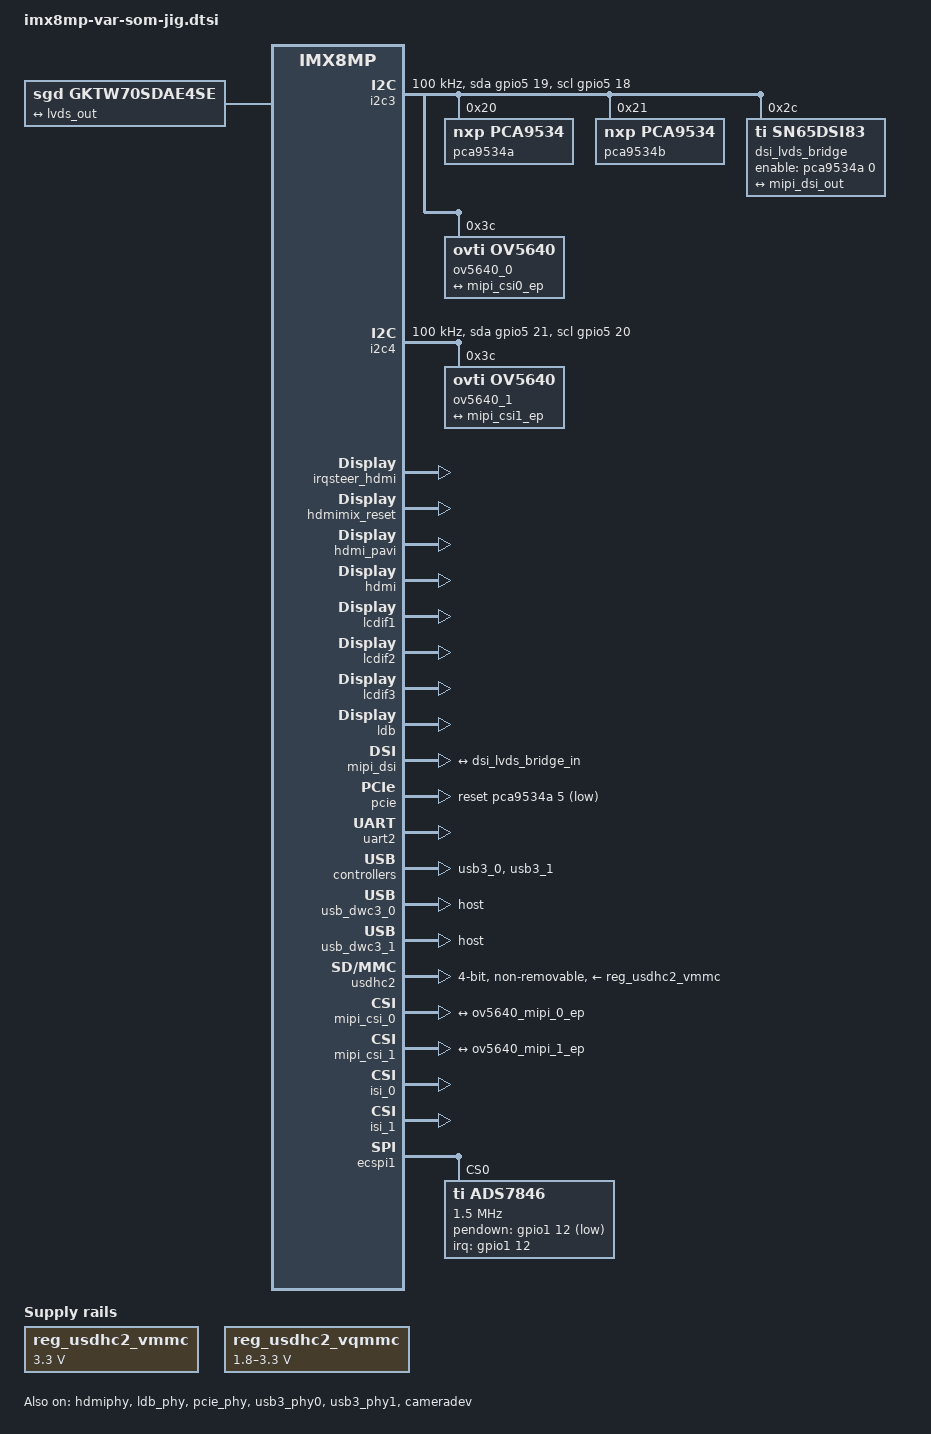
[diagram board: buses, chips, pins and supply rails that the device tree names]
// SPDX-License-Identifier: (GPL-2.0+ OR MIT)
/*
 * Copyright 2019 NXP
 * Copyright 2020 Variscite Ltd.
 */

/ {
	chosen {
		stdout-path = &uart2;
	};

	/delete-node/ memory@40000000;

	reserved-memory {
		/* CMA region is configured by kernel command line as cma=<size>M */
		/delete-node/ linux,cma;
	};

	reg_usdhc2_vmmc: regulator-usdhc2-vmmc {
		compatible = "regulator-fixed";
		regulator-name = "VSD_3V3";
		regulator-min-microvolt = <3300000>;
		regulator-max-microvolt = <3300000>;
	};

	reg_usdhc2_vqmmc: regulator-usdhc2-vqmmc {
		compatible = "regulator-gpio";
		regulator-name = "VSD_VSEL";
		regulator-min-microvolt = <1800000>;
		regulator-max-microvolt = <3300000>;
		gpio = <&gpio2 12 GPIO_ACTIVE_HIGH>;
		gpios-states = <1>;
		states = <3300000 0
			  1800000 1>;
	};



	sound-hdmi {
		compatible = "fsl,imx-audio-cdnhdmi";
		model = "audio-hdmi";
		audio-cpu = <&aud2htx>;
		hdmi-out;
		constraint-rate = <44100>,
				<88200>,
				<176400>,
				<32000>,
				<48000>,
				<96000>,
				<192000>;
		status = "disabled";
	};

	panel {
		compatible = "sgd,gktw70sdae4se", "panel-lvds";
		width-mm = <153>;
		height-mm = <87>;
		label = "gktw70sdae4se";
		data-mapping = "jeida-24";
		status = "okay";

		panel-timing {
			clock-frequency = <66000000>;
			hactive = <1600>;
			vactive = <480>;
			hback-porch = <80>;
			hfront-porch = <80>;
			vback-porch = <29>;
			vfront-porch = <13>;
			hsync-len = <96>;
			vsync-len = <3>;
			hsync-active = <0>;
			vsync-active = <0>;
			de-active = <1>;
		};

		port {
			panel_in: endpoint {
				remote-endpoint = <&lvds_out>;
			};
		};
	};
};

&aud2htx {
	status = "disabled";
};



&i2c3 {
	clock-frequency = <100000>;
	pinctrl-names = "default", "gpio";
	pinctrl-0 = <&pinctrl_i2c3>;
	pinctrl-1 = <&pinctrl_i2c3_gpio>;
	scl-gpios = <&gpio5 18 GPIO_ACTIVE_HIGH>;
	sda-gpios = <&gpio5 19 GPIO_ACTIVE_HIGH>;
	status = "okay";

	/* GPIO expander */
	pca9534a: gpio@20 {
		status = "okay";
		compatible = "nxp,pca9534";
		reg = <0x20>;
		gpio-controller;
		#gpio-cells = <2>;
	};

	/* GPIO expander */
	pca9534b: gpio@21 {
		status = "okay";
		compatible = "nxp,pca9534";
		reg = <0x21>;
		gpio-controller;
		#gpio-cells = <2>;
	};

	dsi_lvds_bridge: sn65dsi84@2c {
		compatible = "ti,sn65dsi83";
		reg = <0x2c>;
		ti,dsi-lanes = <4>;
		ti,lvds-format = <1>;
		ti,lvds-bpp = <24>;
		ti,lvds-channels = <1>;
		ti,width-mm = <154>;
		ti,height-mm = <87>;
		enable-gpios = <&pca9534a 0 GPIO_ACTIVE_HIGH>;
		status = "okay";

		display-timings {
			lvds {
				clock-frequency = <33000000>;
				hactive = <800>;
				vactive = <480>;
				hback-porch = <40>;
				hfront-porch = <40>;
				vback-porch = <29>;
				vfront-porch = <13>;
				hsync-len = <48>;
				vsync-len = <3>;
				hsync-active = <0>;
				vsync-active = <0>;
				de-active = <1>;
				pixelclk-active = <0>;
			};
		};

		port {
			dsi_lvds_bridge_in: endpoint {
				remote-endpoint = <&mipi_dsi_out>;
			};
		};
	};

	ov5640_0: ov5640_mipi@3c {
		compatible = "ovti,ov5640";
		reg = <0x3c>;
		clocks = <&clk IMX8MP_CLK_IPP_DO_CLKO2>;
		clock-names = "xclk";
		assigned-clock-rates = <24000000>;
		csi_id = <0>;
		mclk = <24000000>;
		mclk_source = <0>;
		mipi_csi;
		status = "okay";

		port {
			ov5640_mipi_0_ep: endpoint {
				remote-endpoint = <&mipi_csi0_ep>;
				data-lanes = <1 2>;
				clock-lanes = <0>;
			};
		};
	};
};

&i2c4 {
	clock-frequency = <100000>;
	pinctrl-names = "default", "gpio";
	pinctrl-0 = <&pinctrl_i2c4>;
	pinctrl-1 = <&pinctrl_i2c4_gpio>;
	scl-gpios = <&gpio5 20 GPIO_ACTIVE_HIGH>;
	sda-gpios = <&gpio5 21 GPIO_ACTIVE_HIGH>;
	status = "okay";

	ov5640_1: ov5640_mipi@3c {
		compatible = "ovti,ov5640";
		reg = <0x3c>;
		clocks = <&clk IMX8MP_CLK_IPP_DO_CLKO2>;
		clock-names = "xclk";
		assigned-clock-rates = <24000000>;
		csi_id = <1>;
		mclk = <24000000>;
		mclk_source = <0>;
		mipi_csi;
		status = "okay";

		port {
			ov5640_mipi_1_ep: endpoint {
				remote-endpoint = <&mipi_csi1_ep>;
				data-lanes = <1 2>;
				clock-lanes = <0>;
			};
		};
	};	
};

&irqsteer_hdmi {
	status = "okay";
};

&hdmimix_clk {
	status = "okay";
};

&hdmimix_reset {
	status = "okay";
};

&hdmi_pavi {
	status = "okay";
};

&hdmi {
	status = "okay";
};

&hdmiphy {
	status = "okay";
};

/* MIPI-DSI */
&lcdif1 {
	status = "okay";
};

/* LVDS */
&lcdif2 {
	status = "okay";
};

/* HDMI */
&lcdif3 {
	status = "okay";
};

&ldb {
	status = "okay";
	fsl,dual-channel;

	lvds-channel@0 {
		fsl,data-mapping = "jeida";
		fsl,data-width = <24>;
		status = "okay";

		port@1 {
			reg = <1>;

			lvds_out: endpoint {
				remote-endpoint = <&panel_in>;
			};
		};
	};
};

&ldb_phy {
	status = "okay";
};

&mipi_dsi {
	status = "okay";

	port@1 {
		mipi_dsi_out: endpoint {
			remote-endpoint = <&dsi_lvds_bridge_in>;
			attach-bridge;
		};
	};
};

&pcie {
	reset-gpio = <&pca9534a 5 GPIO_ACTIVE_LOW>;
	ext_osc = <1>;
	clocks = <&clk IMX8MP_CLK_HSIO_AXI_DIV>,
		 <&clk IMX8MP_CLK_PCIE_AUX>,
		 <&clk IMX8MP_CLK_PCIE_PHY>,
		 <&clk IMX8MP_CLK_PCIE_ROOT>;
	clock-names = "pcie", "pcie_aux", "pcie_phy", "pcie_bus";
	assigned-clocks = <&clk IMX8MP_CLK_HSIO_AXI_SRC>,
			  <&clk IMX8MP_CLK_PCIE_AUX>;
	assigned-clock-parents = <&clk IMX8MP_SYS_PLL2_500M>,
				 <&clk IMX8MP_SYS_PLL2_50M>;
	status = "okay";
};

&pcie_phy {
	ext_osc = <1>;
	status = "okay";
};



/* Console */
&uart2 {
	pinctrl-names = "default";
	pinctrl-0 = <&pinctrl_uart2>;
	status = "okay";
};



&usb3_phy0 {
	status = "okay";
};

&usb3_0 {
	status = "okay";
};

&usb_dwc3_0 {
	dr_mode = "host";
	hnp-disable;
	srp-disable;
	adp-disable;
	status = "okay";
};

&usb3_phy1 {
	status = "okay";
};

&usb3_1 {
	status = "okay";
};

&usb_dwc3_1 {
	dr_mode = "host";
	status = "okay";
};



&usdhc2 {
	pinctrl-names = "default", "state_100mhz", "state_200mhz";
	pinctrl-0 = <&pinctrl_usdhc2>;
	pinctrl-1 = <&pinctrl_usdhc2_100mhz>;
	pinctrl-2 = <&pinctrl_usdhc2_200mhz>;
	vmmc-supply = <&reg_usdhc2_vmmc>;
	vqmmc-supply = <&reg_usdhc2_vqmmc>;
	non-removable;
	bus-width = <4>;
	status = "okay";
};



&iomuxc {
	pinctrl-names = "default";
	pinctrl-0 = <&pinctrl_hog>;

	pinctrl_hog: hoggrp {
		fsl,pins = <
			MX8MP_IOMUXC_GPIO1_IO00__GPIO1_IO00                          0x116
			MX8MP_IOMUXC_GPIO1_IO01__GPIO1_IO01                          0x116
			MX8MP_IOMUXC_GPIO1_IO07__GPIO1_IO07                          0x116
			MX8MP_IOMUXC_GPIO1_IO13__GPIO1_IO13                          0x116
			MX8MP_IOMUXC_GPIO1_IO14__GPIO1_IO14                          0x116
			MX8MP_IOMUXC_GPIO1_IO15__GPIO1_IO15                          0x116
			MX8MP_IOMUXC_NAND_DQS__GPIO3_IO14                            0x116
			MX8MP_IOMUXC_SAI1_RXD4__GPIO4_IO06                           0x116
			MX8MP_IOMUXC_SAI1_RXD6__GPIO4_IO08                           0x116
			MX8MP_IOMUXC_SAI1_RXD7__GPIO4_IO09                           0x116
			MX8MP_IOMUXC_SAI1_TXC__GPIO4_IO11                            0x116
			MX8MP_IOMUXC_SAI1_TXD3__GPIO4_IO15                           0x116
			MX8MP_IOMUXC_SAI1_TXD4__GPIO4_IO16                           0x116
			MX8MP_IOMUXC_SAI1_TXD5__GPIO4_IO17                           0x116
			MX8MP_IOMUXC_SAI2_RXFS__GPIO4_IO21                           0x116
			MX8MP_IOMUXC_SAI2_RXD0__GPIO4_IO23                           0x116
			MX8MP_IOMUXC_SAI2_TXC__GPIO4_IO25                            0x116
			MX8MP_IOMUXC_SAI2_TXD0__GPIO4_IO26                           0x116
			MX8MP_IOMUXC_SPDIF_TX__GPIO5_IO03                            0x116
			MX8MP_IOMUXC_SPDIF_EXT_CLK__GPIO5_IO05                       0x116
			MX8MP_IOMUXC_ECSPI2_MOSI__GPIO5_IO11                         0x116
			MX8MP_IOMUXC_UART3_RXD__GPIO5_IO26                           0x116
			MX8MP_IOMUXC_UART3_TXD__GPIO5_IO27                           0x116
			MX8MP_IOMUXC_HDMI_CEC__GPIO3_IO28                            0x116
			MX8MP_IOMUXC_NAND_ALE__GPIO3_IO00                            0x116
			MX8MP_IOMUXC_NAND_DATA01__GPIO3_IO07                         0x116
			MX8MP_IOMUXC_SAI1_MCLK__GPIO4_IO20                           0x116
			MX8MP_IOMUXC_SAI1_RXD3__GPIO4_IO05                           0x116
			MX8MP_IOMUXC_SAI1_RXFS__GPIO4_IO00                           0x116
			MX8MP_IOMUXC_SAI1_RXD0__GPIO4_IO02                           0x116
			MX8MP_IOMUXC_GPIO1_IO05__GPIO1_IO05                          0x116
			MX8MP_IOMUXC_GPIO1_IO03__GPIO1_IO03                          0x116
			MX8MP_IOMUXC_GPIO1_IO08__GPIO1_IO08                          0x116
			MX8MP_IOMUXC_GPIO1_IO06__GPIO1_IO06                          0x116
			MX8MP_IOMUXC_GPIO1_IO09__GPIO1_IO09                          0x116
			MX8MP_IOMUXC_UART1_RXD__GPIO5_IO22                           0x116
			MX8MP_IOMUXC_ECSPI2_SCLK__GPIO5_IO10                         0x116
			MX8MP_IOMUXC_NAND_DATA00__GPIO3_IO06                         0x116
			MX8MP_IOMUXC_SAI1_TXD1__GPIO4_IO13                           0x116
			MX8MP_IOMUXC_HDMI_DDC_SDA__GPIO3_IO27                        0x116
			MX8MP_IOMUXC_UART4_TXD__GPIO5_IO29                           0x116
			MX8MP_IOMUXC_HDMI_DDC_SCL__GPIO3_IO26                        0x116
			MX8MP_IOMUXC_SAI1_TXD2__GPIO4_IO14                           0x116
			MX8MP_IOMUXC_SAI1_TXFS__GPIO4_IO10                           0x116
			MX8MP_IOMUXC_UART1_TXD__GPIO5_IO23                           0x116
			MX8MP_IOMUXC_ECSPI2_SS0__GPIO5_IO13                          0x116
			MX8MP_IOMUXC_SAI2_TXFS__GPIO4_IO24                           0x116
			MX8MP_IOMUXC_SAI1_TXD0__GPIO4_IO12                           0x116
			MX8MP_IOMUXC_ECSPI2_MISO__GPIO5_IO12                         0x116
			MX8MP_IOMUXC_GPIO1_IO11__GPIO1_IO11                          0x116
			MX8MP_IOMUXC_SAI2_RXC__GPIO4_IO22                            0x116
			MX8MP_IOMUXC_UART4_RXD__GPIO5_IO28                           0x116
			MX8MP_IOMUXC_SAI2_MCLK__GPIO4_IO27                           0x116
			MX8MP_IOMUXC_SAI1_RXD5__GPIO4_IO07                           0x116
			MX8MP_IOMUXC_HDMI_HPD__GPIO3_IO29                            0x116
			MX8MP_IOMUXC_NAND_CE0_B__GPIO3_IO01                          0x116
			MX8MP_IOMUXC_NAND_DATA02__GPIO3_IO08                         0x116
			MX8MP_IOMUXC_SAI1_RXD2__GPIO4_IO04                           0x116
			MX8MP_IOMUXC_SAI1_RXD1__GPIO4_IO03                           0x116
			MX8MP_IOMUXC_SAI1_TXD6__GPIO4_IO18                           0x116
			MX8MP_IOMUXC_SAI1_RXC__GPIO4_IO01                            0x116
			MX8MP_IOMUXC_SAI1_TXD7__GPIO4_IO19                           0x116
			MX8MP_IOMUXC_NAND_DATA03__GPIO3_IO09                         0x116
		>;
	};

	pinctrl_i2c3: i2c3grp {
		fsl,pins = <
			MX8MP_IOMUXC_I2C3_SCL__I2C3_SCL					0x400001c3
			MX8MP_IOMUXC_I2C3_SDA__I2C3_SDA					0x400001c3
		>;
	};

	pinctrl_i2c4: i2c4grp {
		fsl,pins = <
			MX8MP_IOMUXC_I2C4_SCL__I2C4_SCL					0x400001c3
			MX8MP_IOMUXC_I2C4_SDA__I2C4_SDA					0x400001c3
		>;
	};

	pinctrl_i2c3_gpio: i2c3gpiogrp {
		fsl,pins = <
			MX8MP_IOMUXC_I2C3_SCL__GPIO5_IO18				0x1c3
			MX8MP_IOMUXC_I2C3_SDA__GPIO5_IO19				0x1c3
		>;
	};

	pinctrl_i2c4_gpio: i2c4gpiogrp {
		fsl,pins = <
			MX8MP_IOMUXC_I2C4_SCL__GPIO5_IO20				0x1c3
			MX8MP_IOMUXC_I2C4_SDA__GPIO5_IO21				0x1c3
		>;
	};

	pinctrl_uart2: uart2grp {
		fsl,pins = <
			MX8MP_IOMUXC_UART2_RXD__UART2_DCE_RX				0x49
			MX8MP_IOMUXC_UART2_TXD__UART2_DCE_TX				0x49
		>;
	};

	pinctrl_uart3: uart3grp {
		fsl,pins = <
			MX8MP_IOMUXC_ECSPI1_SCLK__UART3_DCE_RX				0x140
			MX8MP_IOMUXC_ECSPI1_MOSI__UART3_DCE_TX				0x140
			MX8MP_IOMUXC_ECSPI1_MISO__UART3_DCE_CTS				0x140
			MX8MP_IOMUXC_ECSPI1_SS0__UART3_DCE_RTS				0x140
		>;
	};

	pinctrl_usdhc2: usdhc2grp {
		fsl,pins = <
			MX8MP_IOMUXC_SD2_CLK__USDHC2_CLK				0x190
			MX8MP_IOMUXC_SD2_CMD__USDHC2_CMD				0x1d0
			MX8MP_IOMUXC_SD2_DATA0__USDHC2_DATA0				0x1d0
			MX8MP_IOMUXC_SD2_DATA1__USDHC2_DATA1				0x1d0
			MX8MP_IOMUXC_SD2_DATA2__USDHC2_DATA2				0x1d0
			MX8MP_IOMUXC_SD2_DATA3__USDHC2_DATA3				0x1d0
			MX8MP_IOMUXC_SD2_CD_B__GPIO2_IO12				0xc1
		>;
	};

	pinctrl_usdhc2_100mhz: usdhc2grp-100mhz {
		fsl,pins = <
			MX8MP_IOMUXC_SD2_CLK__USDHC2_CLK				0x194
			MX8MP_IOMUXC_SD2_CMD__USDHC2_CMD				0x1d4
			MX8MP_IOMUXC_SD2_DATA0__USDHC2_DATA0				0x1d4
			MX8MP_IOMUXC_SD2_DATA1__USDHC2_DATA1				0x1d4
			MX8MP_IOMUXC_SD2_DATA2__USDHC2_DATA2				0x1d4
			MX8MP_IOMUXC_SD2_DATA3__USDHC2_DATA3				0x1d4
			MX8MP_IOMUXC_SD2_CD_B__GPIO2_IO12				0xc1
		>;
	};

	pinctrl_usdhc2_200mhz: usdhc2grp-200mhz {
		fsl,pins = <
			MX8MP_IOMUXC_SD2_CLK__USDHC2_CLK				0x196
			MX8MP_IOMUXC_SD2_CMD__USDHC2_CMD				0x1d6
			MX8MP_IOMUXC_SD2_DATA0__USDHC2_DATA0				0x1d6
			MX8MP_IOMUXC_SD2_DATA1__USDHC2_DATA1				0x1d6
			MX8MP_IOMUXC_SD2_DATA2__USDHC2_DATA2				0x1d6
			MX8MP_IOMUXC_SD2_DATA3__USDHC2_DATA3				0x1d6
			MX8MP_IOMUXC_SD2_CD_B__GPIO2_IO12				0xc1
		>;
	};


	pinctrl_ecspi1: ecspi1grp {
		fsl,pins = <
			MX8MP_IOMUXC_I2C1_SCL__ECSPI1_SCLK				0x13
			MX8MP_IOMUXC_I2C1_SDA__ECSPI1_MOSI				0x13
			MX8MP_IOMUXC_I2C2_SCL__ECSPI1_MISO 				0x13
			MX8MP_IOMUXC_I2C2_SDA__ECSPI1_SS0				0x13
		>;
	};

	pinctrl_restouch: restouchgrp {
		fsl,pins = <
			MX8MP_IOMUXC_GPIO1_IO12__GPIO1_IO12				0xc0
		>;
	};
};

&wdog1 {
	status = "disabled";
};

&mipi_csi_0 {
	#address-cells = <1>;
	#size-cells = <0>;
	status = "okay";

	port@0 {
		reg = <0>;
		mipi_csi0_ep: endpoint {
			remote-endpoint = <&ov5640_mipi_0_ep>;
			data-lanes = <2>;
			csis-hs-settle = <13>;
			csis-clk-settle = <2>;
			csis-wclk;
		};
	};
};

&mipi_csi_1 {
	#address-cells = <1>;
	#size-cells = <0>;
	status = "okay";

	port@1 {
		reg = <1>;
		mipi_csi1_ep: endpoint {
			remote-endpoint = <&ov5640_mipi_1_ep>;
			data-lanes = <2>;
			csis-hs-settle = <13>;
			csis-clk-settle = <2>;
			csis-wclk;
		};
	};
};

&cameradev {
	status = "okay";
};

&isi_0 {
	status = "okay";

	cap_device {
		status = "okay";
	};

	m2m_device {
		status = "okay";
	};
};

&isi_1 {
	status = "okay";

	cap_device {
		status = "okay";
	};
};

&ecspi1 {
	pinctrl-names = "default";
	pinctrl-0 = <&pinctrl_ecspi1>;
	status = "okay";

	/* Resistive touch controller */
	ads7846@0 {
		reg = <0>;
		compatible = "ti,ads7846";
		pinctrl-names = "default";
		pinctrl-0 = <&pinctrl_restouch>;
		interrupt-parent = <&gpio1>;
		interrupts = <12 IRQ_TYPE_EDGE_FALLING>;
		spi-max-frequency = <1500000>;
		pendown-gpio = <&gpio1 12 GPIO_ACTIVE_LOW>;
		ti,x-min = /bits/ 16 <125>;
		ti,x-max = /bits/ 16 <4008>;
		ti,y-min = /bits/ 16 <282>;
		ti,y-max = /bits/ 16 <3864>;
		ti,x-plate-ohms = /bits/ 16 <180>;
		ti,pressure-max = /bits/ 16 <255>;
		ti,debounce-max = /bits/ 16 <10>;
		ti,debounce-tol = /bits/ 16 <3>;
		ti,debounce-rep = /bits/ 16 <1>;
		ti,settle-delay-usec = /bits/ 16 <150>;
		ti,keep-vref-on;
		wakeup-source;
		status = "okay";
	};
};

&snvs_rtc {
	status = "disabled";
};
